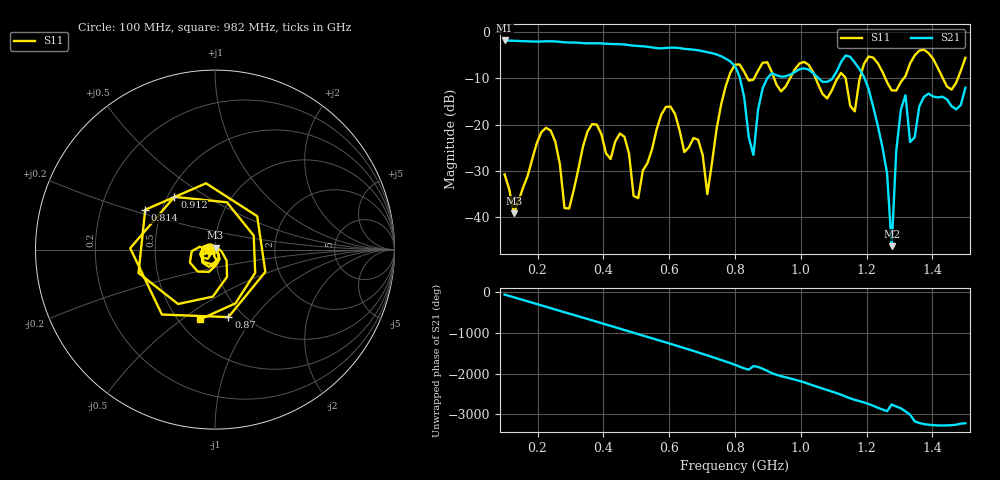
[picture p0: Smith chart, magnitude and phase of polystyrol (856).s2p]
! NanoVNA-App
! Date: 2025-09-25 15:36:32
! Start: 100MHz Stop: 1,5GHz Points: 101
! S-Parameter data: F S11 S21 S12 S22
# Hz S RI R 50
!  Frequency  S11_Real  S11_Imag  S21_Real  S21_Imag  S12_Real  S12_Imag  S22_Real  S22_Imag
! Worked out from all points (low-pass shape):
!   101 points, 100 MHz to 1.5 GHz, reference 50 ohm
!   highest |S21| = -1.80 dB at 100 MHz (marker M1); lowest = -46.2 dB at 1.276 GHz (marker M2)
!   |S21| within 3 dB of the highest: start of sweep to 743.2 MHz
!   lowest |S11| = -39.1 dB at 128 MHz (marker M3), VSWR 1.02, Z = 50.3 + j1.06 ohm
!   |S11| at or under -10 dB: start of sweep to 779.8 MHz; 1.045 GHz to 1.112 GHz (66.32 MHz wide, 6.15 % of centre); 1.257 GHz to 1.312 GHz (55.59 MHz wide, 4.33 % of centre)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
!   S12 and S22 are empty: the file has one direction only
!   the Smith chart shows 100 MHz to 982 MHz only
!   S11 on the Smith chart (normalised r, x): 100 MHz: 0.94, -0.01; 814 MHz: 0.40, +0.22; 870 MHz: 0.85, -0.75; 912 MHz: 0.54, +0.37; 982 MHz: 0.63, -0.59
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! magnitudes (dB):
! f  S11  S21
! 100 MHz  -30.7  -1.8
! 128 MHz  -39.1  -1.9
! 212 MHz  -21.6  -2.0
! 282 MHz  -38.0  -2.2
! 338 MHz  -24.7  -2.4
! 464 MHz  -22.6  -2.7
! 506 MHz  -35.8  -3.0
! 576 MHz  -17.8  -3.5
! 716 MHz  -35.0  -4.3
! 800 MHz  -7.0  -7.3
! 814 MHz  -7.0  -9.6
! 856 MHz  -10.3  -26.5
! 870 MHz  -8.3  -16.8
! 912 MHz  -8.6  -8.9
! 982 MHz  -8.0  -8.6
! 1.038 GHz  -8.7  -8.9
! 1.164 GHz  -17.1  -6.6
! 1.192 GHz  -6.8  -9.7
! 1.276 GHz  -12.6  -46.2
! 1.318 GHz  -9.5  -13.6
! 1.332 GHz  -6.8  -23.7
! 1.5 GHz  -5.6  -12.0
